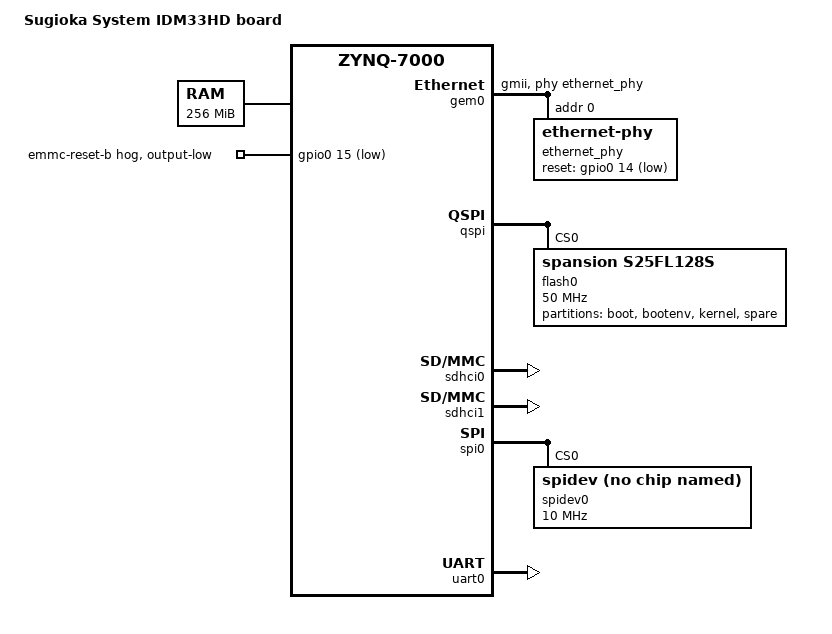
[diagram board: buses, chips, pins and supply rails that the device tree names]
// SPDX-License-Identifier: GPL-2.0+
/dts-v1/;
#include "zynq-7000.dtsi"
#include <dt-bindings/gpio/gpio.h>

/ {
    model = "Sugioka System IDM33HD board";
    compatible = "xlnx,zynq-7000";

    aliases {
        ethernet0 = &gem0;
        serial0 = &uart0;
        qspi = &qspi;
        spi0 = &spi0;
        mmc0 = &sdhci0;
        mmc1 = &sdhci1;
    };
    cpus {
        cpu@0 {
            operating-points = <666666 1000000 333333 1000000>;
        };
    };

    memory@0 {
        device_type = "memory";
        reg = <0x0 0x10000000>;
    };

    reserved-memory {
        #address-cells = <1>;
        #size-cells = <1>;
        ranges;
        display_reserved: framebuffer@0f800000 {
            no-map;
            reg = <0x0f800000 0x00800000>;
        };
    };
    chosen {
        bootargs = "earlycon";
        stdout-path = "serial0:115200n8";
    };
    amba_pl: amba_pl {
        #address-cells = <1>;
        #size-cells = <1>;
        compatible = "simple-bus";
        ranges ;
        misc_clk_0: misc_clk_0 {
            #clock-cells = <0>;
            clock-frequency = <148500000>;
            compatible = "fixed-clock";
        };
        framebuffer_0: framebuffer@0f800000 {
            compatible = "simple-framebuffer";
            reg = <0x0f800000 (1920 * 1080 * 4)>;
            width = <1920>;
            height = <1080>;
            stride = <(1920 * 4)>;
            format = "a8r8g8b8";
            clocks = <&misc_clk_0>;
        };
    };
};

&clkc {
    fclk-enable = <0x3>;
    ps-clk-frequency = <33333333>;
};

&gem0 {
    status = "okay";
    phy-mode = "gmii";
    phy-handle = <&ethernet_phy>;
    xlnx,ptp-enet-clock = <0x69f6bcb>;

    ethernet_phy: ethernet-phy@0 {
        reg = <0>;
        device_type = "ethernet-phy";
        max-speed = <100>;
        reset-gpios = <&gpio0 14 GPIO_ACTIVE_LOW>;
        reset-assert-us = <100>;
        reset-deassert-us = <100>;
    };
};

&gpio0 {
    emio-gpio-width = <64>;
    gpio-mask-high = <0x0>;
    gpio-mask-low = <0x5600>;
    emmc_reset_b {
        gpio-hog;
        gpios = <15 GPIO_ACTIVE_LOW>;
        output-low;
        line-name = "emmc-reset-b";
    };
};
&intc {
    num_cpus = <2>;
    num_interrupts = <96>;
};
&qspi {
    status = "okay";
    is-dual = <0>;
    num-cs = <1>;
    flash0: flash@0 {
        compatible = "spansion,s25fl128s", "winbond,w25q128", "jedec,spi-nor";
        reg = <0x0>;
        spi-tx-bus-width = <4>;
        spi-rx-bus-width = <4>;
        spi-max-frequency = <50000000>;
        #address-cells = <1>;
        #size-cells = <1>;
        partition@0 {
            label = "boot";
            reg = <0x00000000 0x00500000>;
        };
        partition@1 {
            label = "bootenv";
            reg = <0x00500000 0x00020000>;
        };
        partition@2 {
            label = "kernel";
            reg = <0x00520000 0x00a80000>;
        };
        partition@3 {
            label = "spare";
            reg = <0x00fa0000 0x00000000>;
        };
    };
};

&sdhci0 {
    u-boot,dm-pre-reloc;
    status = "okay";
    xlnx,has-cd = <0x1>;
    xlnx,has-power = <0x0>;
    xlnx,has-wp = <0x0>;
};

&sdhci1 {
    u-boot,dm-pre-reloc;
    status = "okay";
    xlnx,has-cd = <0x0>;
    xlnx,has-power = <0x0>;
    xlnx,has-wp = <0x0>;
};
&spi0 {
    is-decoded-cs = <0>;
    num-cs = <3>;
    spi-mode = <3>;
    xlnx,delay-btwn = <120>; // spi clock = 120MHz, Delay in SPI clock cycles between one chip select being de-activated and the activation of another = 1usec
    xlnx,delay-after = <240>; // Delay in SPI clock cycles between last bit of current word to 1st bit of next word delay = 2usec
    xlnx,delay-init = <60>; // cs active to 1st clock delay 500nsec
    status = "okay";
    #address-cells = <1>;
    #size-cells = <0>;
    spidev0: spidev@0 {
        compatible = "dh2228fv";
        spi-max-frequency = <10000000>;
        reg = <0>;
    };
};
&uart0 {
    u-boot,dm-pre-reloc;
    cts-override ;
    device_type = "serial";
    port-number = <0>;
    status = "okay";
};
